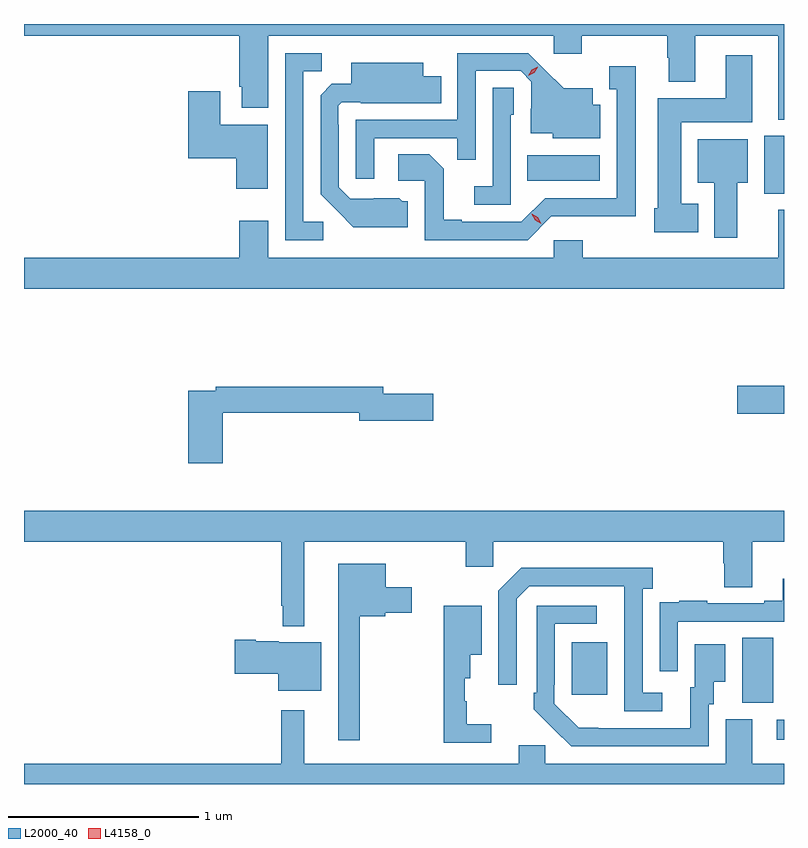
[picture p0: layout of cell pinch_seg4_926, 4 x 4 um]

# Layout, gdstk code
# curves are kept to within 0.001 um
import gdstk
lib = gdstk.Library(unit=1e-6, precision=1e-09)
def R(c, l, rs):  # rectangles x0, y0, x1, y1
    for r in rs: c.add(gdstk.rectangle(r[:2], r[2:], *l))
def P(c, l, *ps):  # polygons
    for p in ps: c.add(gdstk.Polygon(p, *l))
L2000_40 = (2000, 40)
L4158_0 = (4158, 0)

pinch_seg4_926 = lib.new_cell('pinch_seg4_926')
R(pinch_seg4_926, L2000_40, [(656.163,795.78,656.202,795.885), (655.982,795.973,656.146,796.316), (655.085,796.017,655.273,796.291), (655.956,797.495,656.202,797.642), (656.099,798.653,656.202,798.958), (654.85,798.722,655.231,798.856)])
P(pinch_seg4_926, L2000_40, [(656.202,799.546),(652.202,799.546),(652.202,799.484),(653.336,799.484),(653.336,799.216),(653.348,799.216),(653.348,799.104),(653.488,799.104),(653.488,799.484),(654.99,799.484),(654.99,799.389),(655.137,799.389),(655.137,799.484),(655.588,799.484),(655.588,799.368),(655.595,799.368),(655.595,799.241),(655.735,799.241),(655.735,799.484),(656.171,799.484),(656.171,799.043),(656.202,799.043)],
  [(653.776,798.504),(653.673,798.504),(653.673,799.297),(653.769,799.297),(653.769,799.392),(653.577,799.392),(653.577,798.408),(653.776,798.408)],
  [(654.045,798.945),(654.481,798.945),(654.481,798.832),(654.579,798.832),(654.579,799.299),(654.816,799.299),(654.873,799.242),(654.873,799.1),(654.869,799.1),(654.869,798.971),(654.984,798.971),(654.984,798.944),(655.234,798.944),(655.234,799.12),(655.195,799.12),(655.195,799.207),(655.043,799.207),(654.856,799.392),(654.483,799.392),(654.483,799.041),(653.949,799.041),(653.949,798.732),(654.045,798.732)],
  [(655.75,798.601),(655.66,798.601),(655.66,799.028),(656.035,799.028),(656.035,799.381),(655.895,799.381),(655.895,799.156),(655.538,799.156),(655.538,798.576),(655.52,798.576),(655.52,798.449),(655.75,798.449)],
  [(654.223,798.612),(654.192,798.612),(654.176,798.628),(653.919,798.627),(653.859,798.687),(653.859,799.016),(653.856,799.016),(653.856,799.116),(653.874,799.134),(653.974,799.134),(653.974,799.13),(654.398,799.13),(654.398,799.27),(654.304,799.27),(654.304,799.342),(653.924,799.342),(653.924,799.231),(653.822,799.231),(653.763,799.172),(653.763,798.65),(653.935,798.476),(654.223,798.476)],
  [(654.978,798.534),(655.423,798.533),(655.423,799.324),(655.283,799.324),(655.283,799.203),(655.322,799.203),(655.322,798.63),(654.945,798.63),(654.819,798.504),(654.505,798.504),(654.505,798.517),(654.411,798.517),(654.411,798.784),(654.335,798.86),(654.171,798.86),(654.171,798.72),(654.312,798.72),(654.312,798.408),(654.852,798.408)],
  [(654.765,799.068),(654.78,799.068),(654.78,799.211),(654.669,799.211),(654.669,798.691),(654.573,798.691),(654.573,798.594),(654.765,798.594)],
  [(653.485,799.015),(653.236,799.015),(653.236,799.192),(653.066,799.192),(653.066,798.839),(653.318,798.839),(653.318,798.678),(653.485,798.678)],
  [(655.957,798.71),(656.011,798.71),(656.011,798.94),(655.748,798.94),(655.748,798.71),(655.835,798.71),(655.835,798.42),(655.957,798.42)],
  [(656.202,798.568),(656.171,798.568),(656.171,798.316),(655.142,798.316),(655.142,798.409),(654.99,798.409),(654.99,798.316),(653.488,798.316),(653.488,798.511),(653.336,798.511),(653.336,798.316),(652.202,798.316),(652.202,798.152),(656.202,798.152)],
  [(653.249,797.5),(653.966,797.5),(653.966,797.458),(654.355,797.458),(654.355,797.6),(654.094,797.6),(654.094,797.636),(653.212,797.636),(653.212,797.616),(653.066,797.616),(653.066,797.235),(653.249,797.235)],
  [(652.202,796.82),(653.556,796.82),(653.556,796.483),(653.563,796.483),(653.563,796.376),(653.677,796.376),(653.677,796.82),(654.526,796.82),(654.526,796.689),(654.672,796.689),(654.672,796.82),(655.883,796.82),(655.883,796.707),(655.888,796.707),(655.888,796.582),(656.035,796.582),(656.035,796.82),(656.202,796.82),(656.202,796.984),(652.202,796.984)],
  [(653.969,796.43),(654.102,796.43),(654.102,796.448),(654.244,796.448),(654.244,796.582),(654.106,796.582),(654.106,796.705),(653.855,796.705),(653.855,795.777),(653.969,795.777)],
  [(655.561,796.026),(655.458,796.026),(655.458,796.574),(655.51,796.574),(655.51,796.684),(654.82,796.684),(654.699,796.563),(654.699,796.068),(654.795,796.068),(654.795,796.521),(654.861,796.587),(655.361,796.587),(655.362,795.93),(655.561,795.93)],
  [(655.644,796.401),(656.202,796.401),(656.202,796.627),(656.195,796.627),(656.195,796.51),(656.099,796.51),(656.099,796.497),(655.799,796.497),(655.799,796.51),(655.651,796.51),(655.651,796.503),(655.549,796.503),(655.549,796.394),(655.548,796.394),(655.548,796.14),(655.644,796.14)],
  [(655.806,795.966),(655.831,795.966),(655.831,796.085),(655.894,796.085),(655.894,796.282),(655.733,796.282),(655.733,796.056),(655.709,796.056),(655.709,795.84),(655.122,795.841),(654.993,795.969),(654.993,796.069),(654.996,796.069),(654.996,796.389),(655.216,796.389),(655.216,796.485),(654.9,796.485),(654.9,796.027),(654.885,796.027),(654.885,795.939),(655.082,795.744),(655.806,795.744)],
  [(654.661,795.861),(654.532,795.861),(654.532,795.981),(654.521,795.981),(654.521,796.103),(654.55,796.103),(654.55,796.226),(654.61,796.226),(654.61,796.483),(654.411,796.483),(654.411,795.762),(654.661,795.762)],
  [(653.767,796.291),(653.544,796.291),(653.544,796.297),(653.422,796.297),(653.422,796.304),(653.31,796.304),(653.31,796.126),(653.54,796.126),(653.54,796.037),(653.767,796.037)],
  [(655.895,795.888),(655.895,795.652),(654.945,795.652),(654.945,795.75),(654.806,795.75),(654.806,795.652),(653.677,795.652),(653.677,795.934),(653.556,795.934),(653.556,795.652),(652.202,795.652),(652.202,795.546),(656.202,795.546),(656.202,795.652),(656.035,795.652),(656.035,795.888)])
P(pinch_seg4_926, L4158_0, [(654.925,798.495),(654.893,798.514),(654.875,798.546),(654.875,798.547),(654.875,798.547),(654.907,798.528),(654.925,798.495),(654.925,798.495)],
  [(654.857,799.274),(654.857,799.274),(654.874,799.304),(654.905,799.32),(654.905,799.32),(654.905,799.319),(654.888,799.29),(654.857,799.274)])

lib.write_gds('pinch_seg4_926.gds')
